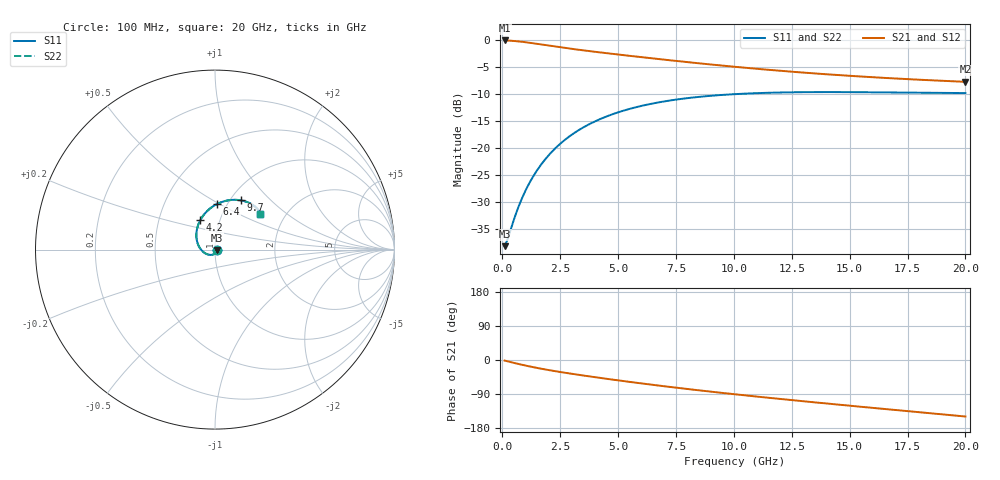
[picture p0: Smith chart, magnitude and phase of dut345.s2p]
! Touchstone file exported from HFSS 2024.1.0
!  File:  C:/UserFiles/LocalFiles/RDL_TSV_Batchsim/temp_RDL_TSV_345_1779635828.aedt
!  Generated:  11:33:09 PM May 24, 2026
!  Design:  RDL_TSV
!  Project:  temp_RDL_TSV_345_1779635828
!  Setup:  Setup1
!  Solution:  Sweep
! Variables:
!  dtsv = 13.45um
!  hbump = 3um
!  htsv = 83.87um
!  ldown = 214.47um
!  lrdl = 258.65um
!  p = 40
!  p1 = 52.68um
!  rhole = 10um
!  subl = 1678.01um
!  t = 450um
!  tdown = 4.27um
!  trdl = 2.98um
!  viad = 10um
!  wdown = 21.94um
!  wrdl = 14.06um
!  xbump = 18um
# GHz S MA R 50.000000
! Terminal data exported
! Port[1] = TM1_1_T1
! Port[2] = TM1_4_T1
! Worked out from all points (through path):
!   200 points, 100 MHz to 20 GHz, reference 50 ohm
!   highest |S21| = -0.11 dB at 100 MHz (marker M1); lowest = -7.8 dB at 20 GHz (marker M2)
!   group delay of S21, straight-line fit = 19.3 ps
!   lowest |S11| = -38.3 dB at 100 MHz (marker M3), VSWR 1.02, Z = 51.1 - j0.466 ohm
!   |S11| at or under -10 dB: start of sweep to 10.33 GHz
!   |S22| runs from -38.3 to -9.7 dB; largest |S21 - S12| = 9.5e-15
!   S11 on the Smith chart (normalised r, x): 100 MHz: 1.02, -0.01; 4.2 GHz: 0.81, +0.27; 6.4 GHz: 0.90, +0.49; 9.7 GHz: 1.12, +0.68; 20 GHz: 1.50, +0.66
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0.1  0.01221 -21.9  0.9878 -1.6  0.9878 -1.6  0.01221 -21.9
! Gamma 0 0 0 0
! Port Impedance 50 0 50 0
0.2  0.01364 -41.9  0.9862 -3.1  0.9862 -3.1  0.01364 -41.9
0.6  0.02477 -97.7  0.9729 -9.1  0.9729 -9.1  0.02477 -97.7
0.8  0.032 -116.6  0.9629 -11.9  0.9629 -11.9  0.032 -116.6
1.1  0.04402 -139.4  0.9452 -15.9  0.9452 -15.9  0.04401 -139.4
1.5  0.0616 -163.1  0.9188 -20.9  0.9188 -20.9  0.06158 -163.1
1.9  0.08022 178.1  0.892 -25.4  0.892 -25.4  0.08018 178.1
2.4  0.104 159.5  0.8602 -30.6  0.8602 -30.6  0.1039 159.5
2.9  0.1274 144.6  0.8311 -35.5  0.8311 -35.5  0.1273 144.6
3.5  0.1543 130.2  0.7995 -41.0  0.7995 -41.0  0.1541 130.2
4.2  0.1833 116.6  0.7663 -47.1  0.7663 -47.1  0.1831 116.6
5.2  0.2195 101.4  0.7233 -55.4  0.7233 -55.4  0.2193 101.4
6.4  0.2546 87.3  0.6768 -64.8  0.6768 -64.8  0.2543 87.3
6.8  0.2644 83.3  0.6623 -67.8  0.6623 -67.8  0.264 83.3
8.2  0.2916 71.6  0.6155 -78.0  0.6155 -78.0  0.2912 71.6
9.7  0.3107 62.0  0.5717 -88.2  0.5717 -88.2  0.3102 61.9
10.1  0.3144 59.8  0.5612 -90.8  0.5612 -90.8  0.3139 59.8
11.7  0.324 52.4  0.5233 -101.0  0.5233 -101.0  0.3235 52.4
13.4  0.3278 46.6  0.49 -111.2  0.49 -111.2  0.3272 46.6
15  0.3275 42.6  0.4642 -120.6  0.4642 -120.6  0.3269 42.7
16.7  0.3251 39.9  0.4416 -130.4  0.4416 -130.4  0.3244 39.9
20  0.3211 37.9  0.4084 -149.1  0.4084 -149.1  0.3204 38.0
